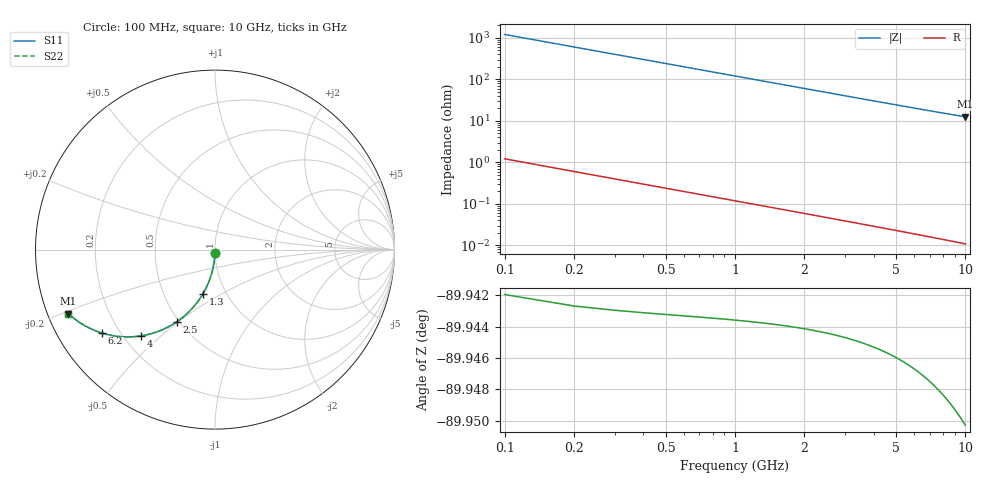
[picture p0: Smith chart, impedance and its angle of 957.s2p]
# Hz S RI R 50.00
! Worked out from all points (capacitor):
!   100 points, 100 MHz to 10 GHz, reference 50 ohm
!   read as one part in shunt: C = 1.32 pF near 100 MHz
!   lowest |Z| = 12.5 ohm at 10 GHz (marker M1)
!   S11 on the Smith chart (normalised r, x): 100 MHz: 1.00, -0.04; 1.3 GHz: 0.78, -0.41; 2.5 GHz: 0.48, -0.49; 4 GHz: 0.27, -0.43; 6.2 GHz: 0.14, -0.32; 10 GHz: 0.06, -0.21
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1e8  -0.000401 -0.0205  0.9995 -0.021  0.9995 -0.021  -0.000401 -0.0205
2e8  -0.00171 -0.0409  0.9982 -0.042  0.9982 -0.042  -0.00171 -0.0409
3e8  -0.00388 -0.0613  0.996 -0.0629  0.996 -0.0629  -0.00388 -0.0613
4e8  -0.00689 -0.0815  0.993 -0.0836  0.993 -0.0836  -0.00689 -0.0815
5e8  -0.0107 -0.1014  0.9892 -0.1041  0.9892 -0.1041  -0.0107 -0.1014
6e8  -0.0154 -0.1211  0.9845 -0.1244  0.9845 -0.1244  -0.0154 -0.1211
8e8  -0.027 -0.1596  0.9729 -0.1639  0.9729 -0.1639  -0.027 -0.1596
1e9  -0.0415 -0.1965  0.9583 -0.2019  0.9583 -0.2019  -0.0415 -0.1965
1.3e9  -0.0682 -0.2483  0.9316 -0.2553  0.9316 -0.2553  -0.0682 -0.2483
1.5e9  -0.0889 -0.2801  0.911 -0.2882  0.911 -0.2882  -0.0889 -0.2801
1.8e9  -0.1232 -0.3233  0.8767 -0.3331  0.8767 -0.3331  -0.1232 -0.3233
2.1e9  -0.1605 -0.361  0.8393 -0.3724  0.8393 -0.3724  -0.1605 -0.361
2.5e9  -0.2134 -0.4024  0.7864 -0.4161  0.7864 -0.4161  -0.2134 -0.4024
2.9e9  -0.2675 -0.4343  0.7322 -0.4502  0.7322 -0.4502  -0.2675 -0.4343
3.4e9  -0.3345 -0.4621  0.6652 -0.4807  0.6652 -0.4807  -0.3345 -0.4621
4e9  -0.4107 -0.4805  0.5889 -0.5025  0.5889 -0.5025  -0.4107 -0.4805
5.1e9  -0.5321 -0.4843  0.4674 -0.5126  0.4674 -0.5126  -0.5321 -0.4843
6.2e9  -0.628 -0.4654  0.3713 -0.5  0.3713 -0.5  -0.628 -0.4654
6.7e9  -0.6639 -0.4529  0.3352 -0.4905  0.3352 -0.4905  -0.6639 -0.4529
7.5e9  -0.713 -0.4304  0.2859 -0.4727  0.2859 -0.4727  -0.713 -0.4304
8.4e9  -0.7579 -0.4036  0.2408 -0.4513  0.2408 -0.4513  -0.7579 -0.4036
1e10  -0.8173 -0.3564  0.1809 -0.4139  0.1809 -0.4139  -0.8173 -0.3564
